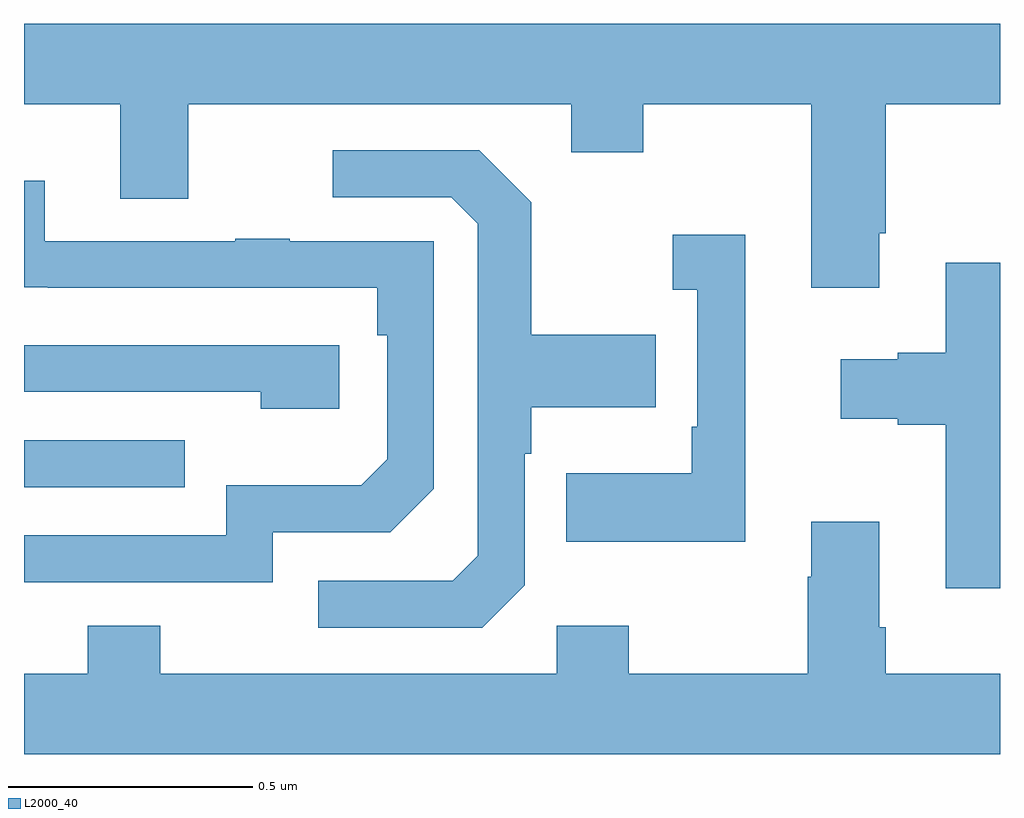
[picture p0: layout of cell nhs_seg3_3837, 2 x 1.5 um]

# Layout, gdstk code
import gdstk
lib = gdstk.Library(unit=1e-6, precision=1e-09)
def R(c, l, rs):  # rectangles x0, y0, x1, y1
    for r in rs: c.add(gdstk.rectangle(r[:2], r[2:], *l))
def P(c, l, *ps):  # polygons
    for p in ps: c.add(gdstk.Polygon(p, *l))
L2000_40 = (2000, 40)

nhs_seg3_3837 = lib.new_cell('nhs_seg3_3837')
R(nhs_seg3_3837, L2000_40, [(159,668.163,159.329,668.259)])
P(nhs_seg3_3837, L2000_40, [(160.753,668.683),(160.766,668.683),(160.766,668.948),(161,668.948),(161,669.112),(159,669.112),(159,668.948),(159.197,668.948),(159.197,668.754),(159.337,668.754),(159.337,668.948),(160.121,668.948),(160.121,668.849),(160.269,668.849),(160.269,668.948),(160.613,668.948),(160.613,668.571),(160.753,668.571)],
  [(160.026,667.962),(160.026,668.231),(160.039,668.231),(160.039,668.327),(160.295,668.327),(160.295,668.475),(160.039,668.475),(160.039,668.747),(159.933,668.853),(159.633,668.853),(159.633,668.757),(159.876,668.757),(159.93,668.703),(159.93,668.022),(159.879,667.971),(159.603,667.971),(159.603,667.875),(159.939,667.875)],
  [(159.51,668.07),(159.75,668.07),(159.84,668.16),(159.84,668.667),(159.545,668.667),(159.545,668.672),(159.433,668.672),(159.433,668.667),(159.043,668.667),(159.043,668.791),(159,668.791),(159,668.572),(159.049,668.572),(159.049,668.571),(159.724,668.571),(159.724,668.474),(159.744,668.474),(159.744,668.22),(159.691,668.167),(159.414,668.167),(159.414,668.064),(159,668.064),(159,667.968),(159.51,667.968)],
  [(160.478,668.68),(160.329,668.68),(160.329,668.567),(160.38,668.567),(160.38,668.287),(160.368,668.287),(160.368,668.191),(160.111,668.191),(160.111,668.051),(160.478,668.051)],
  [(161,668.623),(160.889,668.623),(160.889,668.438),(160.79,668.438),(160.79,668.425),(160.674,668.425),(160.674,668.303),(160.79,668.303),(160.79,668.291),(160.889,668.291),(160.889,667.956),(161,667.956)],
  [(159.646,668.454),(159,668.454),(159,668.358),(159.485,668.358),(159.485,668.324),(159.646,668.324)],
  [(161,667.78),(160.766,667.78),(160.766,667.876),(160.753,667.876),(160.753,668.092),(160.613,668.092),(160.613,667.979),(160.606,667.979),(160.606,667.78),(160.239,667.78),(160.239,667.879),(160.092,667.879),(160.092,667.78),(159.279,667.78),(159.279,667.879),(159.131,667.879),(159.131,667.78),(159,667.78),(159,667.616),(161,667.616)])

lib.write_gds('nhs_seg3_3837.gds')
